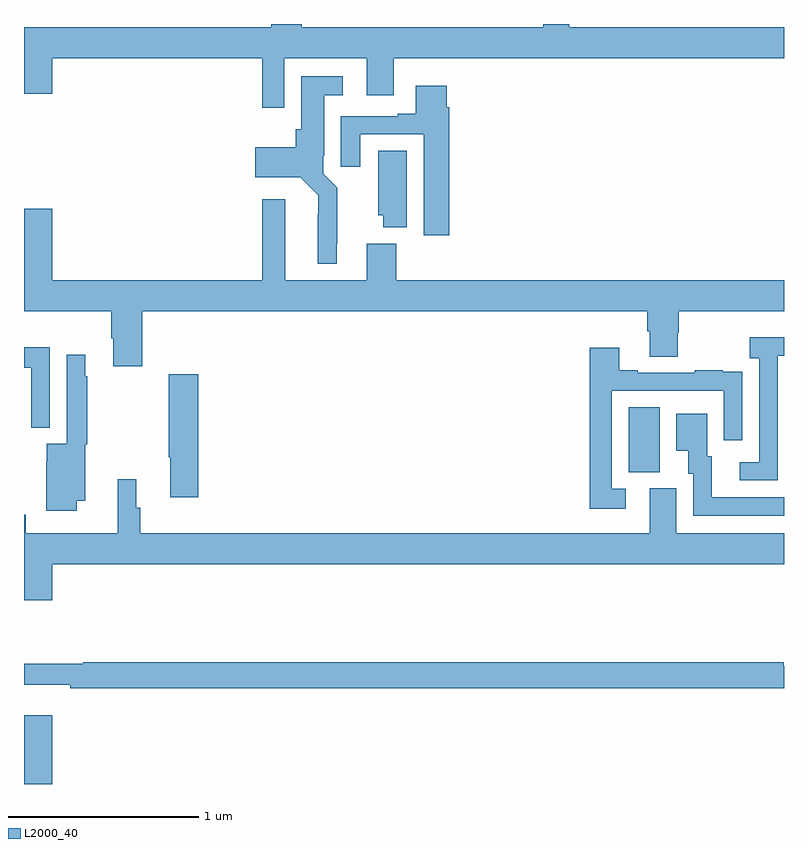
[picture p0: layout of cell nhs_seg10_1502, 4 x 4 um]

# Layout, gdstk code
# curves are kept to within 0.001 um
import gdstk
lib = gdstk.Library(unit=1e-6, precision=1e-09)
def R(c, l, rs):  # rectangles x0, y0, x1, y1
    for r in rs: c.add(gdstk.rectangle(r[:2], r[2:], *l))
def P(c, l, *ps):  # polygons
    for p in ps: c.add(gdstk.Polygon(p, *l))
L2000_40 = (2000, 40)

nhs_seg10_1502 = lib.new_cell('nhs_seg10_1502')
R(nhs_seg10_1502, L2000_40, [(189,1292.5,189.148,1292.863), (192.182,1294.141,192.346,1294.484)])
P(nhs_seg10_1502, L2000_40, [(190.461,1296.5),(190.301,1296.5),(190.301,1296.484),(189,1296.484),(189,1296.132),(189.148,1296.132),(189.148,1296.32),(190.255,1296.32),(190.255,1296.06),(190.371,1296.06),(190.371,1296.32),(190.805,1296.32),(190.805,1296.126),(190.945,1296.126),(190.945,1296.32),(193,1296.32),(193,1296.484),(191.871,1296.484),(191.871,1296.5),(191.733,1296.5),(191.733,1296.484),(190.461,1296.484)],
  [(190.645,1295.347),(190.649,1295.347),(190.649,1295.638),(190.575,1295.712),(190.575,1295.806),(190.579,1295.806),(190.579,1296.125),(190.678,1296.125),(190.678,1296.226),(190.46,1296.226),(190.46,1295.946),(190.43,1295.946),(190.43,1295.851),(190.218,1295.851),(190.218,1295.693),(190.455,1295.693),(190.548,1295.6),(190.547,1295.237),(190.645,1295.237)],
  [(191.237,1296.062),(191.224,1296.062),(191.224,1296.175),(191.063,1296.175),(191.063,1296.028),(190.967,1296.028),(190.967,1296.015),(190.667,1296.015),(190.667,1295.748),(190.771,1295.748),(190.771,1295.919),(191.105,1295.919),(191.105,1295.388),(191.237,1295.388)],
  [(191.014,1295.834),(190.865,1295.834),(190.865,1295.493),(190.892,1295.493),(190.892,1295.429),(191.014,1295.429)],
  [(189.623,1294.988),(192.281,1294.988),(192.281,1294.882),(192.293,1294.882),(192.293,1294.75),(192.441,1294.75),(192.441,1294.875),(192.446,1294.875),(192.446,1294.988),(193,1294.988),(193,1295.152),(190.958,1295.152),(190.958,1295.344),(190.805,1295.344),(190.805,1295.152),(190.375,1295.152),(190.375,1295.578),(190.253,1295.578),(190.253,1295.152),(189.148,1295.152),(189.148,1295.527),(189,1295.527),(189,1294.988),(189.458,1294.988),(189.458,1294.846),(189.47,1294.846),(189.47,1294.698),(189.623,1294.698)],
  [(192.966,1294.555),(192.967,1294.555),(192.967,1294.755),(193,1294.755),(193,1294.852),(192.819,1294.852),(192.819,1294.742),(192.87,1294.742),(192.87,1294.194),(192.768,1294.194),(192.768,1294.098),(192.966,1294.098)],
  [(189.135,1294.8),(189,1294.8),(189,1294.692),(189.038,1294.692),(189.038,1294.376),(189.135,1294.376)],
  [(192.166,1294.053),(192.093,1294.053),(192.093,1294.569),(192.684,1294.569),(192.684,1294.308),(192.78,1294.308),(192.78,1294.562),(192.779,1294.562),(192.779,1294.671),(192.677,1294.671),(192.677,1294.678),(192.529,1294.678),(192.529,1294.665),(192.229,1294.665),(192.229,1294.678),(192.133,1294.678),(192.133,1294.795),(191.977,1294.795),(191.977,1293.948),(192.166,1293.948)],
  [(189.277,1293.992),(189.322,1293.992),(189.322,1294.287),(189.334,1294.287),(189.334,1294.646),(189.322,1294.646),(189.322,1294.759),(189.225,1294.759),(189.225,1294.291),(189.119,1294.291),(189.119,1294.194),(189.116,1294.194),(189.116,1293.939),(189.277,1293.939)],
  [(189.917,1294.657),(189.763,1294.657),(189.763,1294.22),(189.77,1294.22),(189.77,1294.008),(189.917,1294.008)],
  [(193,1294.008),(192.619,1294.008),(192.619,1294.224),(192.595,1294.224),(192.595,1294.45),(192.434,1294.45),(192.434,1294.253),(192.497,1294.253),(192.497,1294.134),(192.522,1294.134),(192.522,1293.912),(193,1293.912)],
  [(193,1293.82),(192.433,1293.82),(192.433,1294.056),(192.293,1294.056),(192.293,1293.82),(189.611,1293.82),(189.611,1293.954),(189.592,1293.954),(189.592,1294.105),(189.494,1294.105),(189.494,1293.82),(189.008,1293.82),(189.008,1293.916),(189,1293.916),(189,1293.468),(189.148,1293.468),(189.148,1293.656),(193,1293.656)],
  [(193,1293.12),(192.998,1293.12),(192.998,1293.14),(189.311,1293.14),(189.311,1293.133),(189,1293.133),(189,1293.023),(189.244,1293.023),(189.244,1293.004),(193,1293.004)])

lib.write_gds('nhs_seg10_1502.gds')
